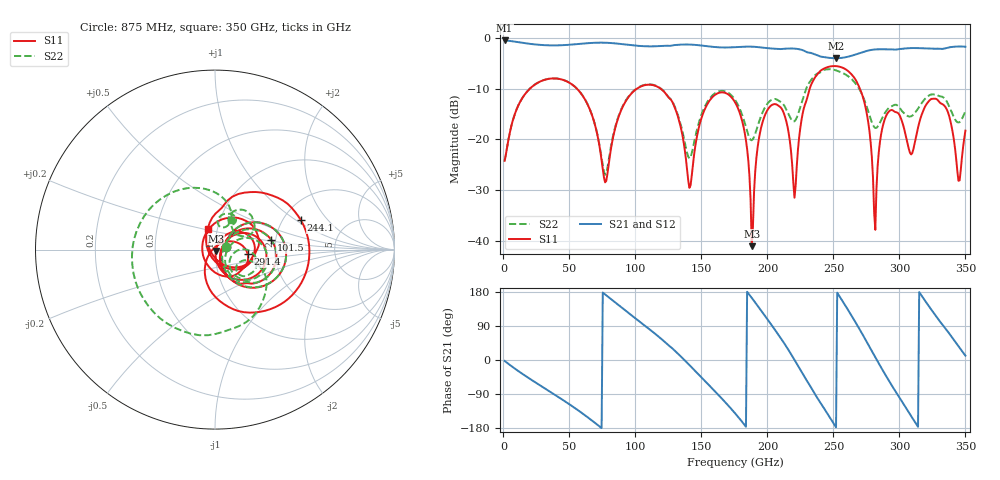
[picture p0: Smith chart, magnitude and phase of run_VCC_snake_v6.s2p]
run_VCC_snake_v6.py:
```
########################################################################
#
# Copyright 2025 Volker Muehlhaus and IHP PDK Authors
#
# Licensed under the GNU General Public License, Version 3.0 (the "License");
# you may not use this file except in compliance with the License.
# You may obtain a copy of the License at
#
#    https://www.gnu.org/licenses/gpl-3.0
#
# Unless required by applicable law or agreed to in writing, software
# distributed under the License is distributed on an "AS IS" BASIS,
# WITHOUT WARRANTIES OR CONDITIONS OF ANY KIND, either express or implied.
# See the License for the specific language governing permissions and
# limitations under the License.
#
########################################################################

import os
import sys
sys.path.insert(0, os.path.abspath(os.path.join(os.path.dirname(__file__), 'modules')))

import modules.util_stackup_reader as stackup_reader
import modules.util_gds_reader as gds_reader
import modules.util_utilities as utilities
import modules.util_simulation_setup as simulation_setup
import modules.util_meshlines as util_meshlines

from openEMS import openEMS
import numpy as np
import matplotlib.pyplot as plt

# Model comments
# Simple inductor model, 2 port model with two via ports to substrate, full two port simulation
#
# This model uses the settings{} dictionary syntax and the gds2openEMS PyPI package
# (pip install gds2openEMS) instead of a local copy of the modules folder - see the
# README for the loose-variable / local-modules-copy alternative, still fully supported.


# ======================== workflow settings ================================

settings = {}

# preview model/mesh only?
settings['preview_only'] = True

# ===================== input files and path settings =======================

gds_filename = "../klayout/VCC_snake_v6.gds"      # geometries
XML_filename = "SG13G2.xml"               # stackup

# preprocess GDSII for safe handling of cutouts/holes?
settings['preprocess_gds'] = False

# merge via polygons with distance less than .. um, set 0 to disable via merging
settings['merge_polygon_size'] = 0.5

# get path for this simulation file
script_path = utilities.get_script_path(__file__)

# use script filename as model basename
model_basename = utilities.get_basename(__file__)

# set and create directory for simulation output
sim_path = utilities.create_sim_path (script_path,model_basename)
print('Simulation data directory: ', sim_path)

# change current path to model script path
os.chdir(os.path.dirname(os.path.abspath(__file__)))


# ======================== simulation settings ================================

settings['unit']   = 1e-6   # geometry is in microns
settings['margin'] = 200    # distance in microns from GDSII geometry boundary to simulation boundary

settings['fstart']  = 0
settings['fstop']   = 350e9
settings['numfreq'] = 401

settings['refined_cellsize'] = 1.0  # mesh cell size in conductor region

# choices for boundary:
# 'PEC' : perfect electric conductor (default)
# 'PMC' : perfect magnetic conductor, useful for symmetries
# 'MUR' : simple MUR absorbing boundary conditions
# 'PML_8' : PML absorbing boundary conditions
settings['Boundaries'] = ['PEC', 'PEC', 'PEC', 'PEC', 'PEC', 'PEC']

settings['cells_per_wavelength'] = 20   # how many mesh cells per wavelength, must be 10 or more
settings['energy_limit'] = -50          # end criteria for residual energy (dB)

# ports from GDSII Data, polygon geometry from specified special layer
# note that for multiport simulation, excitations are switched on/off in simulation_setup.createSimulation below
simulation_ports = simulation_setup.all_simulation_ports()
# instead of in-plane port specified with target_layername, we here use via port specified with from_layername and to_layername
simulation_ports.add_port(simulation_setup.simulation_port(portnumber=1, voltage=1, port_Z0=50, source_layernum=201, from_layername='Metal2', to_layername='TopMetal2', direction='z'))
simulation_ports.add_port(simulation_setup.simulation_port(portnumber=2, voltage=1, port_Z0=50, source_layernum=202, from_layername='Metal2', to_layername='TopMetal2', direction='z'))

# ======================== simulation ================================

# get technology stackup data
materials_list, dielectrics_list, metals_list = stackup_reader.read_substrate (XML_filename)
# get list of layers from technology
layernumbers = metals_list.getlayernumbers()
layernumbers.extend(simulation_ports.portlayers)

# read geometries from GDSII, only purpose 0
allpolygons = gds_reader.read_gds(gds_filename, layernumbers, purposelist=[0], metals_list=metals_list, preprocess=settings['preprocess_gds'], merge_polygon_size=settings['merge_polygon_size'])

# maximum cellsize is calculated inside setupSimulation when using settings dictionary


########### create model, run and post-process ###########

FDTD = openEMS(EndCriteria=np.exp(settings['energy_limit']/10 * np.log(10)))
FDTD.SetGaussExcite( (settings['fstart']+settings['fstop'])/2, (settings['fstop']-settings['fstart'])/2 )
FDTD.SetBoundaryCond( settings['Boundaries'] )

settings['simulation_ports'] = simulation_ports
settings['materials_list'] = materials_list
settings['dielectrics_list'] = dielectrics_list
settings['metals_list'] = metals_list
settings['layernumbers'] = layernumbers
settings['allpolygons'] = allpolygons
settings['sim_path'] = sim_path
settings['model_basename'] = model_basename


# Create simulation for port 1 and 2 excitation, return value is list of data paths, one for each excitation
data_paths = []
for excite_ports in [[1],[2]]:  # list of ports that are excited one after another
    settings['excite_portnumbers'] = excite_ports
    simulation_setup.setupSimulation (FDTD=FDTD, settings=settings)  # must use named parameters when using settings dict!
    data_paths.append(simulation_setup.runSimulation (FDTD=FDTD, settings=settings))  # must use named parameters when using settings dict!


if settings['preview_only']==False:

    print('Begin data evaluation')

    # define dB function for S-parameters
    def dB(value):
        return 20.0*np.log10(np.abs(value))        

    # define phase function for S-parameters
    def phase(value):
        return np.angle(value, deg=True) 

    f = np.linspace(settings['fstart'],settings['fstop'],settings['numfreq'])

    # get results, CSX port definition is read from simulation ports object
    # S12, S22 is available because we have simulated both port1 and port2  excitation
    s11 = utilities.calculate_Sij (1, 1, f, sim_path, simulation_ports)
    s21 = utilities.calculate_Sij (2, 1, f, sim_path, simulation_ports)
    s12 = utilities.calculate_Sij (1, 2, f, sim_path, simulation_ports)
    s22 = utilities.calculate_Sij (2, 2, f, sim_path, simulation_ports)

    s2p_name = os.path.join(sim_path, model_basename + '.s2p')
    utilities.write_snp (np.array([[s11, s21],[s12,s22]]),f, s2p_name, z0=simulation_ports.get_reference_impedance())

    # calculate inductor parameters using Z parameters
    z11 = utilities.calculate_Zij_2port (1, 1, f, sim_path, simulation_ports)
    z21 = utilities.calculate_Zij_2port (2, 1, f, sim_path, simulation_ports)
    z12 = utilities.calculate_Zij_2port (1, 2, f, sim_path, simulation_ports)
    z22 = utilities.calculate_Zij_2port (2, 2, f, sim_path, simulation_ports)

    # ignore divide by zero warning during inductor calculation at DC
    np.seterr(divide='ignore', invalid='ignore')
    
    zdiff = z11-z12-z21+z22
    omega = 2*np.pi*f
    Qdiff = zdiff.imag/zdiff.real
    Ldiff = zdiff.imag/omega
    Rdiff = zdiff.real

    # print some inductor data
    # get series L and series R at frequency of interest
    targetfreq = 10e9
    findex = np.where (f>=targetfreq)[0]
    findex = findex.item(0)

    print('\nDifferential inductor parameters')
    
    print(f"Frequency [GHz]: {f[findex]/1e9:.3f}")  
    print(f"Series L  [nH] : {Ldiff[findex]*1e9:.3f}")  
    print(f"Series R  [Ohm]: {Rdiff[findex]:.3f}") 
    print(f"Q factor       : {Qdiff[findex]:.2f}")  
    print('----------------------')
    print(f"L_DC      [nH] : {Ldiff[1]*1e9:.3f}") 
    print(f"R_DC      [Ohm]: {Rdiff[0]:.3f}")  
    print(f"Peak Q         : {max(Qdiff):.2f}") 

    print('\nStarting plots')

        
    fig, axis = plt.subplots(num="Return Loss", tight_layout=True)
    axis.plot(f/1e9, dB(s11), 'k-',  linewidth=2, label='S11 (dB)')
    axis.plot(f/1e9, dB(s22), 'r--', linewidth=2, label='S22 (dB)')
    axis.grid()
    axis.set_xmargin(0)
    axis.set_xlabel('Frequency (GHz)')
    axis.set_title("Return Loss")
    axis.legend()
    
    fig, axis = plt.subplots(num="Insertion Loss", tight_layout=True)
    axis.plot(f/1e9, dB(s21), 'k-',  linewidth=2, label='S21 (dB)')
    axis.plot(f/1e9, dB(s12), 'r--', linewidth=2, label='S12 (dB)')
    axis.grid()
    axis.set_xmargin(0)
    axis.set_xlabel('Frequency (GHz)')
    axis.set_title("Insertion Loss")
    axis.legend()

    fig, axis = plt.subplots(num="Inductance", tight_layout=True)
    axis.plot(f/1e9, Ldiff*1e9, 'k-',  linewidth=2, label='Lseries [nH]')
    axis.grid()
    axis.set_xmargin(0)
    axis.set_ylim([0, 10])
    axis.set_xlabel('Frequency (GHz)')
    axis.set_title("Inductance")
    axis.legend()


    fig, axis = plt.subplots(num="Q factor", tight_layout=True)
    axis.plot(f/1e9, Qdiff, 'k-',  linewidth=2, label='Lseries [nH]')
    axis.grid()
    axis.set_xmargin(0)
    axis.set_ylim([0, 30])
    axis.set_xlabel('Frequency (GHz)')
    axis.set_title("Q factor")
    axis.legend()

   # show all plots
    plt.show()
```
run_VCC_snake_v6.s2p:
#  Hz  S  RI  R  50
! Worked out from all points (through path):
!   400 points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, 875 MHz to 350 GHz, reference 50 ohm
!   highest |S21| = -0.53 dB at 875 MHz (marker M1); lowest = -4.0 dB at 252 GHz (marker M2)
!   lowest |S11| = -41.1 dB at 188.1 GHz (marker M3), VSWR 1.02, Z = 50.5 - j0.727 ohm
!   |S11| at or under -10 dB: 55.57 GHz to 101.3 GHz (45.72 GHz wide, 58.3 % of centre); 119 GHz to 232.1 GHz (113.1 GHz wide, 64.4 % of centre); 270 GHz to end of sweep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
!   |S22| runs from -27.0 to -6.2 dB; largest |S21 - S12| = 0.002
!   S11 on the Smith chart (normalised r, x): 875 MHz: 1.13, +0.04; 101.5 GHz: 1.89, +0.23; 244.1 GHz: 2.49, +1.10; 291.4 GHz: 1.44, -0.07; 350 GHz: 0.90, +0.21
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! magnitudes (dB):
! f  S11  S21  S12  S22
! 875 MHz  -24.2  -0.5  -0.5  -24.2
! 101.5 GHz  -10.0  -1.6  -1.6  -9.9
! 175.9 GHz  -12.9  -1.8  -1.8  -12.4
! 188.1 GHz  -41.1  -1.7  -1.7  -20.2
! 198.6 GHz  -14.9  -2.0  -2.0  -13.5
! 220.5 GHz  -31.5  -2.1  -2.1  -16.4
! 244.1 GHz  -5.9  -3.9  -3.9  -6.2
! 252 GHz  -5.6  -4.0  -4.0  -6.4
! 281.8 GHz  -37.8  -2.3  -2.3  -17.8
! 291.4 GHz  -14.7  -2.3  -2.3  -14.0
! 350 GHz  -18.3  -1.8  -1.8  -14.5
